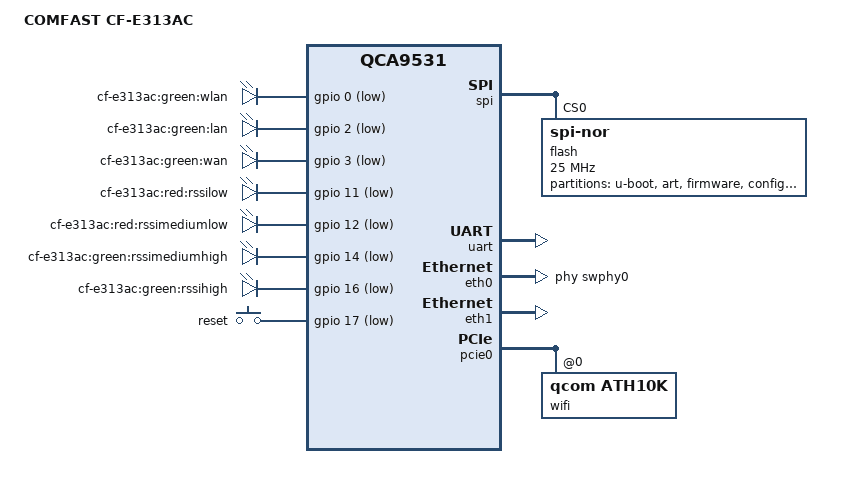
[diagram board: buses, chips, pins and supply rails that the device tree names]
// SPDX-License-Identifier: GPL-2.0-or-later OR MIT
/dts-v1/;

#include <dt-bindings/gpio/gpio.h>
#include <dt-bindings/input/input.h>

#include "qca953x.dtsi"

/ {
	compatible = "comfast,cf-e313ac", "qca,qca9531";
	model = "COMFAST CF-E313AC";

	aliases {
		serial0 = &uart;
		led-boot = &led_rssihigh;
		led-failsafe = &led_rssihigh;
		led-upgrade = &led_rssihigh;
		label-mac-device = &eth1;
	};

	leds {
		compatible = "gpio-leds";
		pinctrl-names = "default";

		wlan {
			label = "cf-e313ac:green:wlan";
			gpios = <&gpio 0 GPIO_ACTIVE_LOW>;
			linux,default-trigger = "phy0tpt";
		};

		lan {
			label = "cf-e313ac:green:lan";
			gpios = <&gpio 2 GPIO_ACTIVE_LOW>;
		};

		wan {
			label = "cf-e313ac:green:wan";
			gpios = <&gpio 3 GPIO_ACTIVE_LOW>;
		};

		rssilow {
			label = "cf-e313ac:red:rssilow";
			gpios = <&gpio 11 GPIO_ACTIVE_LOW>;
		};

		rssimediumlow {
			label = "cf-e313ac:red:rssimediumlow";
			gpios = <&gpio 12 GPIO_ACTIVE_LOW>;
		};

		rssimediumhigh {
			label = "cf-e313ac:green:rssimediumhigh";
			gpios = <&gpio 14 GPIO_ACTIVE_LOW>;
		};

		led_rssihigh: rssihigh {
			label = "cf-e313ac:green:rssihigh";
			gpios = <&gpio 16 GPIO_ACTIVE_LOW>;
		};
	};

	keys {
		compatible = "gpio-keys";

		reset {
			label = "reset";
			linux,code = <KEY_RESTART>;
			gpios = <&gpio 17 GPIO_ACTIVE_LOW>;
			debounce-interval = <60>;
		};
	};
};

&spi {
	status = "okay";
	num-cs = <1>;

	flash@0 {
		compatible = "jedec,spi-nor";
		reg = <0>;
		spi-max-frequency = <25000000>;

		partitions {
			compatible = "fixed-partitions";
			#address-cells = <1>;
			#size-cells = <1>;

			partition@0 {
				label = "u-boot";
				reg = <0x000000 0x010000>;
				read-only;
			};

			art: partition@10000 {
				label = "art";
				reg = <0x010000 0x010000>;
				read-only;
			};

			partition@20000 {
				compatible = "denx,uimage";
				label = "firmware";
				reg = <0x020000 0x7c0000>;
			};

			partition@7e0000 {
				label = "config";
				reg = <0x7e0000 0x010000>;
				read-only;
			};

			partition@7f0000 {
				label = "nvram";
				reg = <0x7f0000 0x010000>;
				read-only;
			};
		};
	};
};

&uart {
	status = "okay";
};

&eth0 {
	status = "okay";
	phy-handle = <&swphy0>;
	mtd-mac-address = <&art 0x1002>;

	gmac-config {
		device = <&gmac>;
		switch-phy-swap = <1>;
	};
};

&eth1 {
	status = "okay";
	mtd-mac-address = <&art 0x0>;
};

&pcie0 {
	status = "okay";

	wifi@0,0 {
		compatible = "qcom,ath10k";
		reg = <0 0 0 0 0>;
	};
};
